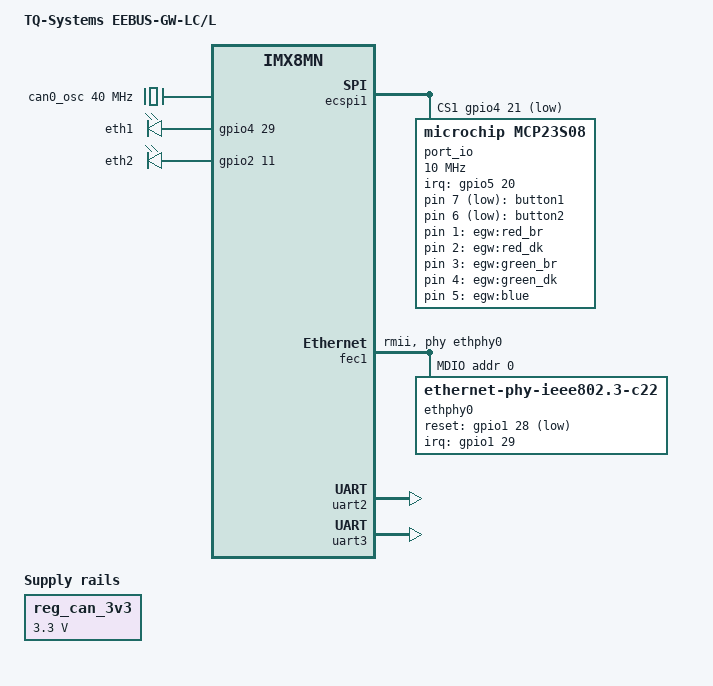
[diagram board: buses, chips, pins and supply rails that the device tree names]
// SPDX-License-Identifier: GPL-2.0-or-later
/*
 * Copyright (c) 2023 - 2024 TQ-Systems GmbH <linux@ew.tq-group.com>,
 * D-82229 Seefeld, Germany.
 * Author: Michael Krummsdorf
 */

/dts-v1/;

#include "imx8mn-em4xx.dtsi"

/ {
	model = "TQ-Systems EEBUS-GW-LC/L";
	compatible = "tq,egw", "fsl,imx8mn";

	buttons {
		/delete-property/ pinctrl-names;
		/delete-property/ pinctrl-0;
		/delete-node/ reset-button;

		button-1 {
			label = "button1";
			gpios = <&port_io 7 GPIO_ACTIVE_LOW>;
			linux,code = <KEY_1>;
		};

		button-2 {
			label = "button2";
			gpios = <&port_io 6 GPIO_ACTIVE_LOW>;
			linux,code = <KEY_2>;
		};
	};

	can0_osc: clock-can0 {
		compatible = "fixed-clock";
		#clock-cells = <0>;
		clock-frequency = <40000000>;
	};

	leds {
		/delete-node/ led1-gn;
		/delete-node/ led1-rd;
		/delete-node/ led2-gn;
		/delete-node/ led2-rd;
		/delete-node/ led3-gn;
		/delete-node/ led3-rd;

		led-red-br {
			gpios = <&port_io 1 GPIO_ACTIVE_HIGH>;
			label = "egw:red_br";
		};

		led-red-dk {
			gpios = <&port_io 2 GPIO_ACTIVE_HIGH>;
			label = "egw:red_dk";
		};

		led-green-br {
			gpios = <&port_io 3 GPIO_ACTIVE_HIGH>;
			label = "egw:green_br";
		};

		led-green-dk {
			gpios = <&port_io 4 GPIO_ACTIVE_HIGH>;
			label = "egw:green_dk";
			linux,default-trigger = "default-on";
		};

		led-blue {
			gpios = <&port_io 5 GPIO_ACTIVE_HIGH>;
			label = "egw:blue";
		};

		led-eth1 {
			gpios = <&gpio4 29 GPIO_ACTIVE_HIGH>;
			label = "eth1";
			linux,default-trigger = "netdev";
		};

		led-eth2 {
			gpios = <&gpio2 11 GPIO_ACTIVE_HIGH>;
			label = "eth2";
		};
	};

	reg_can_3v3: regulator-can-3v3 {
		compatible = "regulator-fixed";
		regulator-name = "CAN_3V3";
		regulator-min-microvolt = <3300000>;
		regulator-max-microvolt = <3300000>;
		regulator-always-on;
	};
};

&ecspi1 {
	pinctrl-names = "default";
	pinctrl-0 = <&pinctrl_ecspi1>, <&pinctrl_ecspi1_ss1>;
	/* SS0 -> CAN_SS#, MB_PWR_EN# -> PORT-IO_SS1 */
	cs-gpios = <&gpio5 17 GPIO_ACTIVE_LOW>, <&gpio4 21 GPIO_ACTIVE_LOW>;
	num-cs = <2>;
	status = "okay";

	can@0 {
		compatible = "microchip,mcp2518fd";
		reg = <0>;
		pinctrl-names = "default";
		pinctrl-0 = <&pinctrl_can>;
		clocks = <&can0_osc>;
		/* MB_RFU1 - CAN_INT */
		interrupt-parent = <&gpio5>;
		interrupts = <19 IRQ_TYPE_LEVEL_LOW>;
		spi-max-frequency = <17000000>;
		termination-gpios = <&port_io 0 GPIO_ACTIVE_LOW>;
		termination-ohms = <56>;
		vdd-supply = <&reg_can_3v3>;
		xceiver-supply = <&reg_can_3v3>;
		/* UART3_RX - CAN_INT1 */
		microchip,rx-int-gpios = <&gpio5 26 GPIO_ACTIVE_LOW>;
		/* Only placed on prototype devices */
		status = "disabled";
	};

	port_io: gpio@1 {
		compatible = "microchip,mcp23s08";
		reg = <1>;
		pinctrl-names = "default";
		pinctrl-0 = <&pinctrl_portio>;
		interrupt-parent = <&gpio5>;
		interrupts = <20 IRQ_TYPE_LEVEL_LOW>;
		gpio-controller;
		#gpio-cells = <2>;
		/* MB_RFU2 - PORT-IO_INT */
		interrupt-controller;
		#interrupt-cells = <2>;
		regcache-refresh-cycle-ms = <5000>;
		/* spi-max-frequency <= 10 MHz */
		spi-max-frequency = <10000000>;
		microchip,spi-present-mask = <0x1>;
	};
};

&fec1 {
	pinctrl-names = "default";
	pinctrl-0 = <&pinctrl_fec1>,
		    <&pinctrl_fec1mdio>,
		    <&pinctrl_enet_irq>,
		    <&pinctrl_enet_reset>,
		    <&pinctrl_enet_led>;
	phy-connection-type = "rmii";
	phy-handle = <&ethphy0>;
	status = "okay";

	mdio {
		#address-cells = <1>;
		#size-cells = <0>;

		ethphy0: ethernet-phy@0 {
			compatible = "ethernet-phy-ieee802.3-c22";
			reg = <0>;
			interrupt-parent = <&gpio1>;
			interrupts = <29 IRQ_TYPE_LEVEL_LOW>;
			reset-gpios = <&gpio1 28 GPIO_ACTIVE_LOW>;
			reset-assert-us = <50>;
			reset-deassert-us = <2000>;
		};
	};
};

&iomuxc {
	pinctrl_can: cangrp {
		fsl,pins = <
			/* MB_RFU1 - CAN_INT */
			MX8MN_IOMUXC_I2C3_SDA_GPIO5_IO19		INPUT_PAD_CTRL
			/* UART3_RX - CAN_INT1 */
			MX8MN_IOMUXC_UART3_RXD_GPIO5_IO26		INPUT_PAD_CTRL
		>;
	};

	pinctrl_ecspi1_ss1: ecspi1ss1grp {
		fsl,pins = <
			/* MB_PWR_EN# - PORT-IO_SS1 */
			MX8MN_IOMUXC_SAI2_RXFS_GPIO4_IO21		OUTPUT_PAD_CTRL
		>;
	};

	pinctrl_enet_led: enetledgrp {
		fsl,pins = <
			MX8MN_IOMUXC_SAI3_RXC_GPIO4_IO29		OUTPUT_PAD_CTRL
			MX8MN_IOMUXC_SD1_STROBE_GPIO2_IO11		OUTPUT_PAD_CTRL
		>;
	};

	pinctrl_portio: portiogrp {
		fsl,pins = <
			/* MB_RFU2 - PORT-IO_INT */
			MX8MN_IOMUXC_I2C4_SCL_GPIO5_IO20		INPUT_PAD_CTRL
		>;
	};

	pinctrl_uart2: uart2grp {
		fsl,pins = <
			/* EMS_UART1_TX */
			MX8MN_IOMUXC_UART2_TXD_UART2_DCE_TX		OUTPUT_PAD_CTRL
			/* EMS_UART1_RX */
			MX8MN_IOMUXC_UART2_RXD_UART2_DCE_RX		INPUT_PAD_CTRL
		>;
	};

	pinctrl_uart3: uart3grp {
		fsl,pins = <
			/* EMS_UART2_TX */
			MX8MN_IOMUXC_UART3_TXD_UART3_DCE_TX		OUTPUT_PAD_CTRL
		>;
	};
};

&uart2 {
	pinctrl-names = "default";
	pinctrl-0 = <&pinctrl_uart2>;
	/* EMS-Bus: Do not enable DMA mode due to missing data bytes */
	/delete-property/ dmas;
	/delete-property/ dma-names;
	/* EM4xx RS485 mode not required */
	/delete-property/ uart-has-rtscts;
	/delete-property/ linux,rs485-enabled-at-boot-time;
	/delete-property/ rs485-rx-during-tx;
	status = "okay";
};

&uart3 {
	pinctrl-names = "default";
	pinctrl-0 = <&pinctrl_uart3>;
	/* EMS-Bus: Do not enable DMA mode due to missing data bytes */
	/delete-property/ dmas;
	/delete-property/ dma-names;
	/* EM4xx RS485 mode not required */
	/delete-property/ uart-has-rtscts;
	/delete-property/ linux,rs485-enabled-at-boot-time;
	/delete-property/ rs485-rx-during-tx;
	status = "okay";
};
